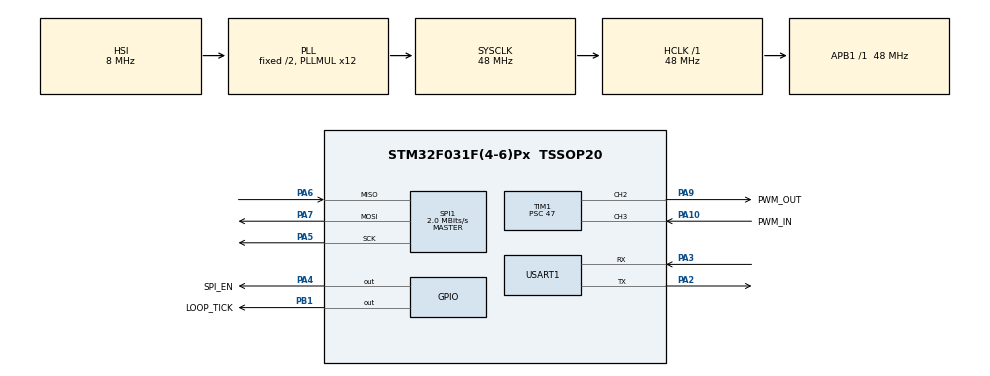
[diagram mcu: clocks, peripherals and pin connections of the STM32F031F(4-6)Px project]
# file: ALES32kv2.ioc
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Mcu.Family=STM32F0
Mcu.Name=STM32F031F(4-6)Px
Mcu.Package=TSSOP20
NVIC.TIM1_CC_IRQn=true\:0\:0\:false\:false\:true
PA10.GPIO_Label=PWM_IN
PA10.Signal=S_TIM1_CH3
PA13.Mode=Serial_Wire
PA13.Signal=SYS_SWDIO
PA14.Mode=Serial_Wire
PA14.Signal=SYS_SWCLK
PA2.Mode=Asynchronous
PA2.Signal=USART1_TX
PA3.Mode=Asynchronous
PA3.Signal=USART1_RX
PA4.GPIO_Label=SPI_EN
PA4.GPIO_Speed=GPIO_SPEED_FREQ_HIGH
PA4.Signal=GPIO_Output
PA5.Mode=Full_Duplex_Master
PA5.Signal=SPI1_SCK
PA6.Mode=Full_Duplex_Master
PA6.Signal=SPI1_MISO
PA7.Mode=Full_Duplex_Master
PA7.Signal=SPI1_MOSI
PA9.GPIO_Label=PWM_OUT
PA9.GPIO_Speed=GPIO_SPEED_FREQ_HIGH
PA9.Signal=S_TIM1_CH2
PB1.GPIO_Label=LOOP_TICK
PB1.Signal=GPIO_Output
ProjectManager.HeapSize=0x200
ProjectManager.StackSize=0x400
ProjectManager.TargetToolchain=SW4STM32
RCC.AHBFreq_Value=48000000
RCC.APB1Freq_Value=48000000
RCC.APB1TimFreq_Value=48000000
RCC.FLatency=FLASH_LATENCY_1
RCC.HCLKFreq_Value=48000000
RCC.PLLMUL=RCC_PLL_MUL12
RCC.SYSCLKFreq_VALUE=48000000
RCC.SYSCLKSource=RCC_SYSCLKSOURCE_PLLCLK
SH.S_TIM1_CH2.0=TIM1_CH2,PWM Generation2 CH2
SH.S_TIM1_CH3.0=TIM1_CH3,Input_Capture3_from_TI3
SPI1.BaudRatePrescaler=SPI_BAUDRATEPRESCALER_4
SPI1.CLKPhase=SPI_PHASE_2EDGE
SPI1.CLKPolarity=SPI_POLARITY_HIGH
SPI1.CalculateBaudRate=2.0 MBits/s
SPI1.DataSize=SPI_DATASIZE_8BIT
SPI1.Mode=SPI_MODE_MASTER
TIM1.Channel-Input_Capture3_from_TI3=TIM_CHANNEL_3
TIM1.Channel-PWM\ Generation2\ CH2=TIM_CHANNEL_2
TIM1.ICPolarity_CH3=TIM_INPUTCHANNELPOLARITY_BOTHEDGE
TIM1.Period=19999
TIM1.Prescaler=47
board=ALES32kv2

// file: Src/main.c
/**
 ******************************************************************************
 * File Name          : main.c
 * Description        : Main program body
 ******************************************************************************
 *
 * COPYRIGHT(c) 2016 STMicroelectronics
 *
 * Redistribution and use in source and binary forms, with or without modification,
 * are permitted provided that the following conditions are met:
 *   1. Redistributions of source code must retain the above copyright notice,
 *      this list of conditions and the following disclaimer.
 *   2. Redistributions in binary form must reproduce the above copyright notice,
 *      this list of conditions and the following disclaimer in the documentation
 *      and/or other materials provided with the distribution.
 *   3. Neither the name of STMicroelectronics nor the names of its contributors
 *      may be used to endorse or promote products derived from this software
 *      without specific prior written permission.
 *
 * THIS SOFTWARE IS PROVIDED BY THE COPYRIGHT HOLDERS AND CONTRIBUTORS "AS IS"
 * AND ANY EXPRESS OR IMPLIED WARRANTIES, INCLUDING, BUT NOT LIMITED TO, THE
 * IMPLIED WARRANTIES OF MERCHANTABILITY AND FITNESS FOR A PARTICULAR PURPOSE ARE
 * DISCLAIMED. IN NO EVENT SHALL THE COPYRIGHT HOLDER OR CONTRIBUTORS BE LIABLE
 * FOR ANY DIRECT, INDIRECT, INCIDENTAL, SPECIAL, EXEMPLARY, OR CONSEQUENTIAL
 * DAMAGES (INCLUDING, BUT NOT LIMITED TO, PROCUREMENT OF SUBSTITUTE GOODS OR
 * SERVICES; LOSS OF USE, DATA, OR PROFITS; OR BUSINESS INTERRUPTION) HOWEVER
 * CAUSED AND ON ANY THEORY OF LIABILITY, WHETHER IN CONTRACT, STRICT LIABILITY,
 * OR TORT (INCLUDING NEGLIGENCE OR OTHERWISE) ARISING IN ANY WAY OUT OF THE USE
 * OF THIS SOFTWARE, EVEN IF ADVISED OF THE POSSIBILITY OF SUCH DAMAGE.
 *
 ******************************************************************************
 */
#include "stm32f0xx_hal.h"

/* USER CODE BEGIN Includes */
#include "string.h"
/* USER CODE END Includes */

SPI_HandleTypeDef hspi1;

TIM_HandleTypeDef htim1;

UART_HandleTypeDef huart1;

/* USER CODE BEGIN PV */
/* Private variables ---------------------------------------------------------*/
//SPI_HandleTypeDef SpiHandle;
typedef struct _bmp280calibration {
    uint16_t dig_t1;
    int16_t dig_t2;
    int16_t dig_t3;
    uint16_t dig_p1;
    int16_t dig_p2;
    int16_t dig_p3;
    int16_t dig_p4;
    int16_t dig_p5;
    int16_t dig_p6;
    int16_t dig_p7;
    int16_t dig_p8;
    int16_t dig_p9;
} Bmp280Calibration;

Bmp280Calibration bmpCalibration;

//#define BUFFERSIZE 64

// Pressure differences * 25600 between start alt and height above start alt
#define ALT_100M -1196     // -305995.1386
#define ALT_150M -1789     // -457892.7898
#define ALT_200M -2380     // -609060.7514

#define ALT_CUTOFF ALT_150M    // Change this to set the altimeter cutoff height
#define VERSION "1.4f"

#define RCSAMPLES 8

//#define VERBOSE 1

enum {
    BMP280_REGISTER_DIG_T1 = 0x88,
    BMP280_REGISTER_DIG_T2 = 0x8A,
    BMP280_REGISTER_DIG_T3 = 0x8C,

    BMP280_REGISTER_DIG_P1 = 0x8E,
    BMP280_REGISTER_DIG_P2 = 0x90,
    BMP280_REGISTER_DIG_P3 = 0x92,
    BMP280_REGISTER_DIG_P4 = 0x94,
    BMP280_REGISTER_DIG_P5 = 0x96,
    BMP280_REGISTER_DIG_P6 = 0x98,
    BMP280_REGISTER_DIG_P7 = 0x9A,
    BMP280_REGISTER_DIG_P8 = 0x9C,
    BMP280_REGISTER_DIG_P9 = 0x9E,

    BMP280_REGISTER_CHIPID = 0xD0,
    BMP280_REGISTER_VERSION = 0xD1,
    BMP280_REGISTER_SOFTRESET = 0xE0,

    BMP280_REGISTER_CAL26 = 0xE1,  // R calibration stored in 0xE1-0xF0

    BMP280_REGISTER_CONTROL = 0xF4,
    BMP280_REGISTER_CONFIG = 0xF5,
    BMP280_REGISTER_PRESSUREDATA = 0xF7,
    BMP280_REGISTER_TEMPDATA = 0xFA,
};

typedef int32_t BMP280_S32_t;
typedef uint32_t BMP280_U32_t;
typedef int64_t BMP280_S64_t;

BMP280_S32_t t_fine;
volatile int rxPwm = 0;
int lastCounter = 0;
int counter = 0;

uint8_t throttleActive = 0; // The throttle is allowed to be moved from idle if throttleActive is 1
#ifdef VERBOSE
char strbuf[100];
#endif
/* USER CODE END PV */

void SystemClock_Config(void);
void errorHandler(void);
static void MX_GPIO_Init(void);
static void MX_SPI1_Init(void);
static void MX_TIM1_Init(void);
static void MX_USART1_UART_Init(void);

void HAL_TIM_MspPostInit(TIM_HandleTypeDef *htim);

/* USER CODE BEGIN PFP */
/* Private function prototypes -----------------------------------------------*/
uint8_t bmp280GetChipId(void);
uint8_t bmp280GetCalibration(void);
int32_t spiGetInt20(uint8_t address);
void bmp280Init(void);
BMP280_S32_t bmp280CompensateTemperature(BMP280_S32_t adcTemp);
BMP280_S64_t bmp280PressureDiff(BMP280_S32_t adcPres, BMP280_S64_t startPa);
void timeoutErrorHandler(void);
void itoa(int n, char s[]);

/* USER CODE END PFP */

/* USER CODE BEGIN 0 */
int tFilter[RCSAMPLES] = { 0 };
uint8_t filterCount = 0;

void HAL_TIM_IC_CaptureCallback(TIM_HandleTypeDef *htim) {
    int diff = 0;

    if (htim->Instance == TIM1) {
        // Ideally we'd like to know if the interrupt was due to the rising or falling edge
        // so we can capture the pulse time on the falling edge and start the counter on
        // the rising edge. Until that is figured out, go for a simpler version where we capture
        // two edges and see if the time is short enough to have been a pulse rather than the
        // gap between pulses. A pulse will be shorter than 2500uS (probably only around 2100uS
        // at most). The gap between pulses will be at least 17500uS.
        counter = HAL_TIM_ReadCapturedValue(htim, TIM_CHANNEL_3);
        if (lastCounter > counter) {
            diff = 20000 - lastCounter + counter;
        } else {
            diff = counter - lastCounter;
        }
        lastCounter = counter;

        if (diff < 2500 && diff > 900) { // We must have the pulse time rather than the gap between pulses
            tFilter[filterCount++] = diff;
            filterCount %= RCSAMPLES;

            int avg = 0;
            for (int i = 0; i < RCSAMPLES; i++) {
                avg += tFilter[i];
            }

            rxPwm = avg / RCSAMPLES;
        }

        // TODO: if no pulses received for some time, then set rxPwm to 0 rather than leaving
        //       it stuck at last measured value
    }
}

int waitForIdleThrottle() {
    // Capture idle throttle. Must be below 1200uS and above 900uS for 2 seconds
    uint8_t idleCaptured = 0;
    int idleThrottlePeriod;

    while (!idleCaptured) {
        int throttle = rxPwm;
        while (throttle > 1200 || throttle < 900) {
            HAL_Delay(100);
            throttle = rxPwm;
#ifdef VERBOSE
            strcpy(strbuf, "Waiting for thr1:");
            itoa(throttle, &strbuf[strlen(strbuf)]);
            strcat(strbuf, "\n");
            HAL_UART_Transmit(&huart1, (uint8_t*) strbuf, strlen(strbuf), 5000);
#endif
        }
        int throttlePeriod = throttle;
        uint8_t captureTime = 0;
        while ((throttle >= throttlePeriod && (throttle - throttlePeriod) < 25)
                || (throttle < throttlePeriod
                        && (throttlePeriod - throttle) < 25)) {
            captureTime++;
            if (captureTime > 20) {
                // Wait 2 seconds for stable throttle position
                idleCaptured = 1;
                idleThrottlePeriod = throttle;
                break;
            }
#ifdef VERBOSE
            strcpy(strbuf, "Waiting for thr2:");
            itoa(throttle, &strbuf[strlen(strbuf)]);
            strcat(strbuf, "\n");
            HAL_UART_Transmit(&huart1, (uint8_t*) strbuf, strlen(strbuf), 5000);
#endif
            HAL_Delay(100);
            throttle = rxPwm;
        }
    }

    return idleThrottlePeriod;
}

/* USER CODE END 0 */

int main(void) {

    /* USER CODE BEGIN 1 */
    int32_t temperature;
    int idleThrottlePeriod = 1000;
    /* USER CODE END 1 */

    /* MCU Configuration----------------------------------------------------------*/

    /* Reset of all peripherals, Initializes the Flash interface and the Systick. */
    HAL_Init();

    /* Configure the system clock */
    SystemClock_Config();

    HAL_Delay(2000);

    /* Initialize all configured peripherals */
    MX_GPIO_Init();
    MX_SPI1_Init();
    MX_TIM1_Init();
    MX_USART1_UART_Init();

    /* USER CODE BEGIN 2 */
    // Start PWM_IN capture
    HAL_TIM_IC_Start_IT(&htim1, TIM_CHANNEL_3);

    // Capture idle throttle. Must be below 1200uS and above 900uS for 2 seconds
    idleThrottlePeriod = waitForIdleThrottle();

    // Start PWM_OUT timer: TIM1, Ch2
    HAL_TIM_PWM_Start(&htim1, TIM_CHANNEL_2);
    __HAL_TIM_SET_COMPARE(&htim1, TIM_CHANNEL_2, idleThrottlePeriod); // Set throttle to idle
    throttleActive = 1;

    bmp280GetCalibration();
    bmp280Init();

    BMP280_S64_t startPressure = 0;
    int pressureCaptureCount = 0;
    int throttleIdleCount = 0;
    int throttleOnTime = 0;
    int loopCount = 0;
    /* USER CODE END 2 */

    /* Infinite loop */
    while (1) {

        /* USER CODE BEGIN 3 */

        HAL_GPIO_TogglePin(LOOP_TICK_GPIO_Port, LOOP_TICK_Pin);

        // Record loop time and make sure it runs at 1mS per loop
        uint32_t tickstart = HAL_GetTick();
        int throttle = rxPwm;

        if (loopCount % 100 == 0) {
            int32_t rawTemperature = spiGetInt20(BMP280_REGISTER_TEMPDATA);
            int32_t rawPressure = spiGetInt20(BMP280_REGISTER_PRESSUREDATA);

            temperature = bmp280CompensateTemperature(rawTemperature);
            BMP280_S64_t pressureDiff = bmp280PressureDiff(rawPressure,
                    startPressure);

            if (startPressure == 0 && pressureDiff > 0) {
                pressureCaptureCount++;
                if (pressureCaptureCount > 10) {
                    pressureCaptureCount = 10;
                    startPressure = pressureDiff; // TODO: Check if pressure has been stable for 1 second
#ifdef VERBOSE
                    strcpy(strbuf, "Start press:");
                    itoa(startPressure, &strbuf[strlen(strbuf)]);
                    strcat(strbuf, "\n");
                    HAL_UART_Transmit(&huart1, (uint8_t *) strbuf,
                            strlen(strbuf), 5000);
#endif
                }
            }

            // Check pressureDiff to see if the max altitude has been reached.
            // PressureDiff is lower (more negative) with increasing altitude
            // TODO: Verify altitude is stable or increasing rather than a 'glitch'
            if ((pressureDiff <= ALT_CUTOFF) && throttleActive) {
                throttleActive = 0;    // Force ESC to idle
                throttleOnTime = 0;    // Reset on time
#ifdef VERBOSE
                strcpy(strbuf, "Max alt reached\n");
                HAL_UART_Transmit(&huart1, (uint8_t *) strbuf, strlen(strbuf),
                        5000);
#endif
            }

#ifdef VERBOSE
            int32_t temp1 = temperature / 100;
            int32_t temp2 = temperature - temp1 * 100;

            strcpy(strbuf, VERSION);
            strcat(strbuf, ",T:");
            itoa(temp1, &strbuf[strlen(strbuf)]);
            strcat(strbuf, ".");
            itoa(temp2, &strbuf[strlen(strbuf)]);
            strcat(strbuf, "C,P:");
            itoa(pressureDiff, &strbuf[strlen(strbuf)]);
            strcat(strbuf, ",PWMIn:");
            itoa(throttle, &strbuf[strlen(strbuf)]);
            strcat(strbuf, ",OnTime:");
            itoa(throttleOnTime, &strbuf[strlen(strbuf)]);
            strcat(strbuf, ",Active:");
            itoa(throttleActive, &strbuf[strlen(strbuf)]);
            strcat(strbuf, ",IdleCount:");
            itoa(throttleIdleCount, &strbuf[strlen(strbuf)]);
            strcat(strbuf, ",IdlePeriod:");
            itoa(idleThrottlePeriod, &strbuf[strlen(strbuf)]);
            strcat(strbuf, "\n");

            HAL_UART_Transmit(&huart1, (uint8_t *) strbuf, strlen(strbuf),
                    5000);
#endif
        }

        // Check if throttle is above idle
        if (throttleActive && throttle >= idleThrottlePeriod + 40) {
            //startTime = getCurrentTime();
            throttleIdleCount = 0;
            throttleOnTime++;
            if (throttleOnTime >= 30000) {
                throttleActive = 0; // Force throttle to idle if it's been on for more than 30 seconds
#ifdef VERBOSE
                strcpy(strbuf, "Max time reached\n");
                HAL_UART_Transmit(&huart1, (uint8_t *) strbuf, strlen(strbuf),
                        5000);
#endif
            }
        }

        // Check for throttle going to idle during active time
        if (throttleActive && throttle <= idleThrottlePeriod + 25) {
            throttleActive = 0;    // Force throttle to idle
            throttleOnTime = 0;    // Reset throttle on time
#ifdef VERBOSE
            if (loopCount % 500 == 0) {
                strcpy(strbuf, "Thr idle\n");
                HAL_UART_Transmit(&huart1, (uint8_t *) strbuf, strlen(strbuf),
                        5000);
            }
#endif
        }

        // Check if throttle has been disarmed and has been set to idle for more than 3 seconds
        if (throttleActive == 0 && throttle <= idleThrottlePeriod + 25) {
            throttleIdleCount++;
            if (throttleIdleCount > 3000) {
                throttleIdleCount = 3000;
                throttleActive = 1; // Throttle is re-armed if it's been idle for more than 3 seconds
#ifdef VERBOSE
                if (loopCount % 500 == 0) {
                    strcpy(strbuf, "Thr re-armed\n");
                    HAL_UART_Transmit(&huart1, (uint8_t *) strbuf,
                            strlen(strbuf), 5000);
                }
#endif
            }
        }

        // Pass throttle to ESC if it is armed, otherwise force ESC to idle
        if (throttleActive) {
            __HAL_TIM_SET_COMPARE(&htim1, TIM_CHANNEL_2, throttle);
        } else {
            __HAL_TIM_SET_COMPARE(&htim1, TIM_CHANNEL_2, idleThrottlePeriod);
        }

        loopCount++;
        loopCount %= 1000;

        while ((HAL_GetTick() - tickstart) < 1) // 1mS delay for entire loop - ensure rest of loop takes less than 1mS though!
        {
        }

    }
    /* USER CODE END 3 */

}

/** System Clock Configuration
 */
void SystemClock_Config(void) {

    RCC_OscInitTypeDef RCC_OscInitStruct;
    RCC_ClkInitTypeDef RCC_ClkInitStruct;
    RCC_PeriphCLKInitTypeDef PeriphClkInit;

    RCC_OscInitStruct.OscillatorType = RCC_OSCILLATORTYPE_HSI;
    RCC_OscInitStruct.HSIState = RCC_HSI_ON;
    RCC_OscInitStruct.HSICalibrationValue = 16;
    RCC_OscInitStruct.PLL.PLLState = RCC_PLL_ON;
    RCC_OscInitStruct.PLL.PLLSource = RCC_PLLSOURCE_HSI;
    RCC_OscInitStruct.PLL.PLLMUL = RCC_PLL_MUL12;
    RCC_OscInitStruct.PLL.PREDIV = RCC_PREDIV_DIV1;
    if (HAL_RCC_OscConfig(&RCC_OscInitStruct) != HAL_OK) {
        errorHandler();
    }

    RCC_ClkInitStruct.ClockType = RCC_CLOCKTYPE_HCLK | RCC_CLOCKTYPE_SYSCLK
            | RCC_CLOCKTYPE_PCLK1;
    RCC_ClkInitStruct.SYSCLKSource = RCC_SYSCLKSOURCE_PLLCLK;
    RCC_ClkInitStruct.AHBCLKDivider = RCC_SYSCLK_DIV1;
    RCC_ClkInitStruct.APB1CLKDivider = RCC_HCLK_DIV1;
    if (HAL_RCC_ClockConfig(&RCC_ClkInitStruct, FLASH_LATENCY_1) != HAL_OK) {
        errorHandler();
    }

    PeriphClkInit.PeriphClockSelection = RCC_PERIPHCLK_USART1;
    PeriphClkInit.Usart1ClockSelection = RCC_USART1CLKSOURCE_PCLK1;
    if (HAL_RCCEx_PeriphCLKConfig(&PeriphClkInit) != HAL_OK) {
        errorHandler();
    }

    HAL_SYSTICK_Config(HAL_RCC_GetHCLKFreq() / 1000);

    HAL_SYSTICK_CLKSourceConfig (SYSTICK_CLKSOURCE_HCLK);

    /* SysTick_IRQn interrupt configuration */
    HAL_NVIC_SetPriority(SysTick_IRQn, 0, 0);
}

/* SPI1 init function */
static void MX_SPI1_Init(void) {

    hspi1.Instance = SPI1;
    hspi1.Init.Mode = SPI_MODE_MASTER;
    hspi1.Init.Direction = SPI_DIRECTION_2LINES;
    hspi1.Init.DataSize = SPI_DATASIZE_8BIT;
    hspi1.Init.CLKPolarity = SPI_POLARITY_HIGH;
    hspi1.Init.CLKPhase = SPI_PHASE_2EDGE;
    hspi1.Init.NSS = SPI_NSS_SOFT;
    hspi1.Init.BaudRatePrescaler = SPI_BAUDRATEPRESCALER_4;
    hspi1.Init.FirstBit = SPI_FIRSTBIT_MSB;
    hspi1.Init.TIMode = SPI_TIMODE_DISABLE;
    hspi1.Init.CRCCalculation = SPI_CRCCALCULATION_DISABLE;
    hspi1.Init.CRCPolynomial = 7;
    hspi1.Init.CRCLength = SPI_CRC_LENGTH_DATASIZE;
    hspi1.Init.NSSPMode = SPI_NSS_PULSE_DISABLE;
    if (HAL_SPI_Init(&hspi1) != HAL_OK) {
        errorHandler();
    }

}

/* TIM1 init function */
static void MX_TIM1_Init(void) {

    TIM_MasterConfigTypeDef sMasterConfig;
    TIM_OC_InitTypeDef sConfigOC;
    TIM_IC_InitTypeDef sConfigIC;
    TIM_BreakDeadTimeConfigTypeDef sBreakDeadTimeConfig;

    htim1.Instance = TIM1;
    htim1.Init.Prescaler = 47;
    htim1.Init.CounterMode = TIM_COUNTERMODE_UP;
    htim1.Init.Period = 19999;
    htim1.Init.ClockDivision = TIM_CLOCKDIVISION_DIV1;
    htim1.Init.RepetitionCounter = 0;
    if (HAL_TIM_PWM_Init(&htim1) != HAL_OK) {
        errorHandler();
    }

    if (HAL_TIM_IC_Init(&htim1) != HAL_OK) {
        errorHandler();
    }

    sMasterConfig.MasterOutputTrigger = TIM_TRGO_RESET;
    sMasterConfig.MasterSlaveMode = TIM_MASTERSLAVEMODE_DISABLE;
    if (HAL_TIMEx_MasterConfigSynchronization(&htim1, &sMasterConfig)
            != HAL_OK) {
        errorHandler();
    }

    sConfigOC.OCMode = TIM_OCMODE_PWM1;
    sConfigOC.Pulse = 0;
    sConfigOC.OCPolarity = TIM_OCPOLARITY_HIGH;
    sConfigOC.OCNPolarity = TIM_OCNPOLARITY_HIGH;
    sConfigOC.OCFastMode = TIM_OCFAST_DISABLE;
    sConfigOC.OCIdleState = TIM_OCIDLESTATE_RESET;
    sConfigOC.OCNIdleState = TIM_OCNIDLESTATE_RESET;
    if (HAL_TIM_PWM_ConfigChannel(&htim1, &sConfigOC, TIM_CHANNEL_2)
            != HAL_OK) {
        errorHandler();
    }

    sConfigIC.ICPolarity = TIM_INPUTCHANNELPOLARITY_BOTHEDGE;
    sConfigIC.ICSelection = TIM_ICSELECTION_DIRECTTI;
    sConfigIC.ICPrescaler = TIM_ICPSC_DIV1;
    sConfigIC.ICFilter = 0;
    if (HAL_TIM_IC_ConfigChannel(&htim1, &sConfigIC, TIM_CHANNEL_3) != HAL_OK) {
        errorHandler();
    }

    sBreakDeadTimeConfig.OffStateRunMode = TIM_OSSR_DISABLE;
    sBreakDeadTimeConfig.OffStateIDLEMode = TIM_OSSI_DISABLE;
    sBreakDeadTimeConfig.LockLevel = TIM_LOCKLEVEL_OFF;
    sBreakDeadTimeConfig.DeadTime = 0;
    sBreakDeadTimeConfig.BreakState = TIM_BREAK_DISABLE;
    sBreakDeadTimeConfig.BreakPolarity = TIM_BREAKPOLARITY_HIGH;
    sBreakDeadTimeConfig.AutomaticOutput = TIM_AUTOMATICOUTPUT_DISABLE;
    if (HAL_TIMEx_ConfigBreakDeadTime(&htim1, &sBreakDeadTimeConfig)
            != HAL_OK) {
        errorHandler();
    }

    HAL_TIM_MspPostInit(&htim1);

}

/* USART1 init function */
static void MX_USART1_UART_Init(void) {

    huart1.Instance = USART1;
    huart1.Init.BaudRate = 38400;
    huart1.Init.WordLength = UART_WORDLENGTH_8B;
    huart1.Init.StopBits = UART_STOPBITS_1;
    huart1.Init.Parity = UART_PARITY_NONE;
    huart1.Init.Mode = UART_MODE_TX_RX;
    huart1.Init.HwFlowCtl = UART_HWCONTROL_NONE;
    huart1.Init.OverSampling = UART_OVERSAMPLING_16;
    huart1.Init.OneBitSampling = UART_ONE_BIT_SAMPLE_DISABLE;
    huart1.AdvancedInit.AdvFeatureInit = UART_ADVFEATURE_NO_INIT;
    if (HAL_UART_Init(&huart1) != HAL_OK) {
        errorHandler();
    }

}

/** Configure pins as
 * Analog
 * Input
 * Output
 * EVENT_OUT
 * EXTI
 */
static void MX_GPIO_Init(void) {

    GPIO_InitTypeDef GPIO_InitStruct;

    /* GPIO Ports Clock Enable */
    __HAL_RCC_GPIOA_CLK_ENABLE();
    __HAL_RCC_GPIOB_CLK_ENABLE();

    /*Configure GPIO pin Output Level */
    HAL_GPIO_WritePin(SPI_EN_GPIO_Port, SPI_EN_Pin, GPIO_PIN_RESET);

    /*Configure GPIO pin Output Level */
    HAL_GPIO_WritePin(LOOP_TICK_GPIO_Port, LOOP_TICK_Pin, GPIO_PIN_RESET);

    /*Configure GPIO pin : SPI_EN_Pin */
    GPIO_InitStruct.Pin = SPI_EN_Pin;
    GPIO_InitStruct.Mode = GPIO_MODE_OUTPUT_PP;
    GPIO_InitStruct.Pull = GPIO_NOPULL;
    GPIO_InitStruct.Speed = GPIO_SPEED_FREQ_HIGH;
    HAL_GPIO_Init(SPI_EN_GPIO_Port, &GPIO_InitStruct);

    /*Configure GPIO pin : LOOP_TICK_Pin */
    GPIO_InitStruct.Pin = LOOP_TICK_Pin;
    GPIO_InitStruct.Mode = GPIO_MODE_OUTPUT_PP;
    GPIO_InitStruct.Pull = GPIO_NOPULL;
    GPIO_InitStruct.Speed = GPIO_SPEED_FREQ_LOW;
    HAL_GPIO_Init(LOOP_TICK_GPIO_Port, &GPIO_InitStruct);

}

/* USER CODE BEGIN 4 */
/* reverse:  reverse string s in place */
void reverse(char s[]) {
    int c, i, j;

    for (i = 0, j = strlen(s) - 1; i < j; i++, j--) {
        c = s[i];
        s[i] = s[j];
        s[j] = c;
    }
}

/* itoa:  convert n to characters in s */
void itoa(int n, char s[]) {
    int i;
    uint8_t negative = 0;

    if (n < 0) { /* record sign */
        n = -n; /* make n positive */
        negative = 1;
    }

    i = 0;
    do { /* generate digits in reverse order */
        s[i++] = n % 10 + '0'; /* get next digit */
    } while ((n /= 10) > 0); /* delete it */

    if (negative) {
        s[i++] = '-';
    }

    s[i] = '\0';

    reverse(s);
}

uint8_t bmp280GetChipId(void) {
    uint8_t txbuf[2];
    uint8_t rxbuf[2];
    HAL_SPI_StateTypeDef status;

    txbuf[0] = 0x80 | BMP280_REGISTER_CHIPID;
    txbuf[1] = 0xFF;

    rxbuf[0] = 0x00;
    rxbuf[1] = 0x00;

    HAL_GPIO_WritePin(SPI_EN_GPIO_Port, SPI_EN_Pin, GPIO_PIN_RESET);

    status = HAL_SPI_TransmitReceive(&hspi1, txbuf, rxbuf, 2, 5000);
    if (status == HAL_SPI_STATE_ERROR) {
        errorHandler();
    }

    HAL_GPIO_WritePin(SPI_EN_GPIO_Port, SPI_EN_Pin, GPIO_PIN_SET);

    return rxbuf[1];
}

int32_t spiGetInt20(uint8_t address) {
    uint8_t txbuf[4];
    uint8_t rxbuf[4];
    HAL_SPI_StateTypeDef status;

    txbuf[0] = 0x80 | address;
    txbuf[1] = 0xFF;
    txbuf[2] = 0xFF;
    txbuf[3] = 0xFF;

    rxbuf[0] = 0x00;
    rxbuf[1] = 0x00;
    rxbuf[2] = 0x00;
    rxbuf[3] = 0x00;

    HAL_GPIO_WritePin(SPI_EN_GPIO_Port, SPI_EN_Pin, GPIO_PIN_RESET);

    status = HAL_SPI_TransmitReceive(&hspi1, txbuf, rxbuf, 4, 5000);
    if (status == HAL_SPI_STATE_ERROR) {
        errorHandler();
    }

    HAL_GPIO_WritePin(SPI_EN_GPIO_Port, SPI_EN_Pin, GPIO_PIN_SET);

    int32_t val = rxbuf[1] << 16 | rxbuf[2] << 8 | (rxbuf[3] & 0xF0);
    return val >> 4;
}

uint8_t bmp280GetCalibration(void) {
    uint8_t txbuf[25];
    uint8_t rxbuf[25];
    HAL_SPI_StateTypeDef status;

    txbuf[0] = 0x80 | BMP280_REGISTER_DIG_T1;
    for (int i = 1; i < 25; i++) {
        txbuf[i] = 0xFF;
    }

    for (int i = 0; i < 25; i++) {
        rxbuf[i] = 0x00;
    }

    HAL_GPIO_WritePin(SPI_EN_GPIO_Port, SPI_EN_Pin, GPIO_PIN_RESET);

    status = HAL_SPI_TransmitReceive(&hspi1, txbuf, rxbuf, 25, 5000);
    if (status == HAL_SPI_STATE_ERROR) {
        errorHandler();
    }

    HAL_GPIO_WritePin(SPI_EN_GPIO_Port, SPI_EN_Pin, GPIO_PIN_SET);

    bmpCalibration.dig_t1 = rxbuf[2] << 8 | rxbuf[1];
    bmpCalibration.dig_t2 = rxbuf[4] << 8 | rxbuf[3];
    bmpCalibration.dig_t3 = rxbuf[6] << 8 | rxbuf[5];
    bmpCalibration.dig_p1 = rxbuf[8] << 8 | rxbuf[7];
    bmpCalibration.dig_p2 = rxbuf[10] << 8 | rxbuf[9];
    bmpCalibration.dig_p3 = rxbuf[12] << 8 | rxbuf[11];
    bmpCalibration.dig_p4 = rxbuf[14] << 8 | rxbuf[13];
    bmpCalibration.dig_p5 = rxbuf[16] << 8 | rxbuf[15];
    bmpCalibration.dig_p6 = rxbuf[18] << 8 | rxbuf[17];
    bmpCalibration.dig_p7 = rxbuf[20] << 8 | rxbuf[19];
    bmpCalibration.dig_p8 = rxbuf[22] << 8 | rxbuf[21];
    bmpCalibration.dig_p9 = rxbuf[24] << 8 | rxbuf[23];

    return 0;
}

void bmp280Init(void) {
    uint8_t config[4];
    uint8_t rxbuf[4];
    HAL_SPI_StateTypeDef status;

    config[0] = BMP280_REGISTER_CONTROL & 0x7F; // clear write bit
    config[1] = 0b01010111; // osrs_t[3]: 2x, osrs_p[3]: 16x, mode[2]: normal mode
    config[2] = BMP280_REGISTER_CONFIG & 0x7F;
    config[3] = 0b00011100; // t_sb[3]:0.5mS , filter[3], res[1]:0, spi3w_en[1]:disabled

    HAL_GPIO_WritePin(SPI_EN_GPIO_Port, SPI_EN_Pin, GPIO_PIN_RESET);

    status = HAL_SPI_TransmitReceive(&hspi1, config, rxbuf, 4, 5000);
    if (status == HAL_SPI_STATE_ERROR) {
        errorHandler();
    }

    HAL_GPIO_WritePin(SPI_EN_GPIO_Port, SPI_EN_Pin, GPIO_PIN_SET);
}

// Returns temperature in DegC, resolution is 0.01 DegC. Output value of “5123” equals 51.23 DegC. // t_fine carries fine temperature as global value
BMP280_S32_t bmp280CompensateTemperature(BMP280_S32_t adcTemp) {
    BMP280_S32_t var1, var2, T;

    var1 = ((((adcTemp >> 3) - ((BMP280_S32_t) bmpCalibration.dig_t1 << 1)))
            * ((BMP280_S32_t) bmpCalibration.dig_t2)) >> 11;
    var2 = (((((adcTemp >> 4) - ((BMP280_S32_t) bmpCalibration.dig_t1))
            * ((adcTemp >> 4) - ((BMP280_S32_t) bmpCalibration.dig_t1))) >> 12)
            * ((BMP280_S32_t) bmpCalibration.dig_t3)) >> 14;
    t_fine = var1 + var2;
    T = (t_fine * 5 + 128) >> 8;
    return T;
}

#if 0
BMP280_S32_t bmp280CompensateTemperature(BMP280_S32_t adcTemp)
{
    BMP280_S32_t var1, var2, T;
    adcTemp >>= 4;
    var1 = ((((adcTemp >> 3) - ((BMP280_S32_t)bmpCalibration.dig_t1 << 1))) * ((BMP280_S32_t)bmpCalibration.dig_t2)) >> 11;
    var2 = (((((adcTemp >> 4) - ((BMP280_S32_t)bmpCalibration.dig_t1)) * ((adcTemp >> 4) - ((BMP280_S32_t)bmpCalibration.dig_t1))) >> 12) *
            ((BMP280_S32_t)bmpCalibration.dig_t3)) >> 14;
    t_fine = var1 + var2;
    T = (t_fine * 5 + 128) >> 8;
    return T;
}
#endif

BMP280_S64_t bmp280PressureDiff(BMP280_S32_t adcPres, BMP280_S64_t startPa) {
    BMP280_S32_t var1, var2, p;
    var1 = (((BMP280_S32_t) t_fine) >> 1) - (BMP280_S32_t) 64000;
    var2 = (((var1 >> 2) * (var1 >> 2)) >> 11)
            * ((BMP280_S32_t) bmpCalibration.dig_p6);
    var2 = var2 + ((var1 * (BMP280_S32_t) bmpCalibration.dig_p5) << 1);
    var2 = (var2 >> 2) + (((BMP280_S32_t) bmpCalibration.dig_p4) << 16);
    var1 = (((bmpCalibration.dig_p3 * (((var1 >> 2) * (var1 >> 2)) >> 13)) >> 3)
            + ((((BMP280_S32_t) bmpCalibration.dig_p2) * var1) >> 1)) >> 18;
    var1 = ((((32768 + var1)) * ((BMP280_S32_t) bmpCalibration.dig_p1)) >> 15);
    if (var1 == 0) {
        return 0; // avoid exception caused by division by zero
    }
    p = (((BMP280_U32_t) (((BMP280_S32_t) 1048576) - adcPres) - (var2 >> 12)))
            * 3125;
    if (p < 0x80000000) {
        p = (p << 1) / ((BMP280_U32_t) var1);
    } else {
        p = (p / (BMP280_U32_t) var1) * 2;
    }
    var1 = (((BMP280_S32_t) bmpCalibration.dig_p9)
            * ((BMP280_S32_t) (((p >> 3) * (p >> 3)) >> 13))) >> 12;
    var2 = (((BMP280_S32_t) (p >> 2)) * ((BMP280_S32_t) bmpCalibration.dig_p8))
            >> 13;
    p = (BMP280_U32_t) ((BMP280_S32_t) p
            + ((var1 + var2 + bmpCalibration.dig_p7) >> 4));

    return p - startPa;
}

#if 0
BMP280_S64_t bmp280PressureDiff(BMP280_S32_t adcPres, BMP280_S64_t startPa)
{
    BMP280_S64_t var1, var2, p;
    adcPres >>= 4;
    var1 = ((BMP280_S64_t)t_fine) - 128000;
    var2 = var1 * var1 * (BMP280_S64_t)bmpCalibration.dig_p6;
    var2 = var2 + ((var1 * (BMP280_S64_t)bmpCalibration.dig_p5) << 17);
    var2 = var2 + (((BMP280_S64_t)bmpCalibration.dig_p4) << 35);
    var1 = ((var1 * var1 * (BMP280_S64_t)bmpCalibration.dig_p3) >> 8) + ((var1 * (BMP280_S64_t)bmpCalibration.dig_p2) << 12);
    var1 = (((((BMP280_S64_t)1) << 47) + var1)) * ((BMP280_S64_t)bmpCalibration.dig_p1) >> 33;
    if (var1 == 0) {
        return 0; // avoid exception caused by division by zero
    }
    p = 1048576 - adcPres;
    p = (((p << 31) - var2) * 3125) / var1;
    var1 = (((BMP280_S64_t)bmpCalibration.dig_p9) * (p >> 13) * (p >> 13)) >> 25;
    var2 = (((BMP280_S64_t)bmpCalibration.dig_p8) * p) >> 19;
    p = ((p + var1 + var2) >> 8) + (((BMP280_S64_t)bmpCalibration.dig_p7) << 4);

    return p - startPa;
}
#endif

/**
 * @brief  This function is executed in case of timeout error occurrence.
 * @param  None
 * @retval None
 */
void timeoutErrorHandler(void) {
    //HAL_GPIO_WritePin(GPIOC, LD4_Pin, GPIO_PIN_SET);
    /* User can add his own implementation to report the HAL error return state */
    while (1) {
        //HAL_GPIO_WritePin(GPIOC, LD4_Pin, GPIO_PIN_SET);
        //HAL_Delay(500);
        //HAL_GPIO_WritePin(GPIOC, LD4_Pin, GPIO_PIN_RESET);
        //HAL_Delay(500);
    }
}

/* USER CODE END 4 */

void errorHandler(void) {
    while (1) {
    }
}

/************************ (C) COPYRIGHT STMicroelectronics *****END OF FILE****/
